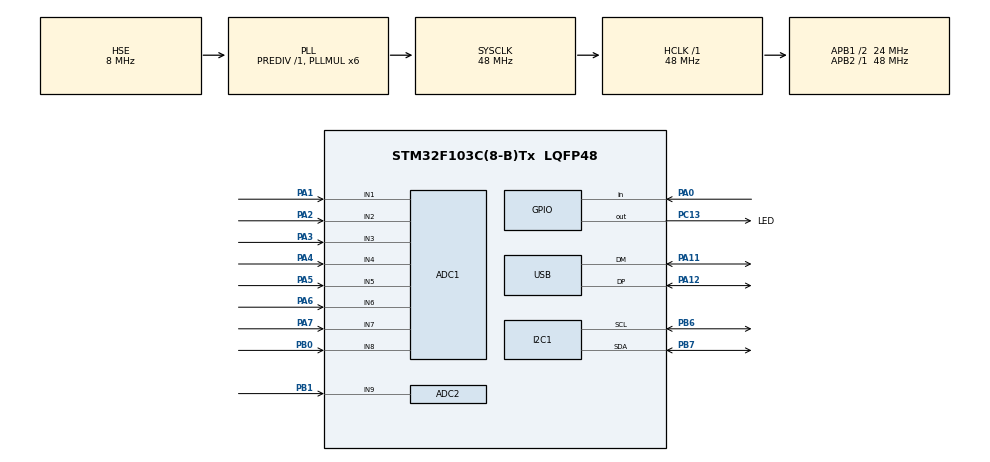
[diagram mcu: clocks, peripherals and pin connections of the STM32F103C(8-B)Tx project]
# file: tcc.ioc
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ADC1.Channel-0\#ChannelRegularConversion=ADC_CHANNEL_1
ADC1.Channel-1\#ChannelRegularConversion=ADC_CHANNEL_2
ADC1.Channel-2\#ChannelRegularConversion=ADC_CHANNEL_3
ADC1.Channel-3\#ChannelRegularConversion=ADC_CHANNEL_4
ADC1.Channel-4\#ChannelRegularConversion=ADC_CHANNEL_5
ADC1.Channel-5\#ChannelRegularConversion=ADC_CHANNEL_6
ADC1.Channel-6\#ChannelRegularConversion=ADC_CHANNEL_7
ADC1.Channel-7\#ChannelRegularConversion=ADC_CHANNEL_8
ADC1.ContinuousConvMode=ENABLE
ADC1.EnableAnalogWatchDog=false
ADC1.NbrOfConversion=8
ADC1.NbrOfConversionFlag=1
ADC1.Rank-0\#ChannelRegularConversion=1
ADC1.Rank-1\#ChannelRegularConversion=2
ADC1.Rank-2\#ChannelRegularConversion=3
ADC1.Rank-3\#ChannelRegularConversion=4
ADC1.Rank-4\#ChannelRegularConversion=5
ADC1.Rank-5\#ChannelRegularConversion=6
ADC1.Rank-6\#ChannelRegularConversion=7
ADC1.Rank-7\#ChannelRegularConversion=8
ADC1.SamplingTime-0\#ChannelRegularConversion=ADC_SAMPLETIME_71CYCLES_5
ADC1.SamplingTime-1\#ChannelRegularConversion=ADC_SAMPLETIME_71CYCLES_5
ADC1.SamplingTime-2\#ChannelRegularConversion=ADC_SAMPLETIME_71CYCLES_5
ADC1.SamplingTime-3\#ChannelRegularConversion=ADC_SAMPLETIME_71CYCLES_5
ADC1.SamplingTime-4\#ChannelRegularConversion=ADC_SAMPLETIME_71CYCLES_5
ADC1.SamplingTime-5\#ChannelRegularConversion=ADC_SAMPLETIME_71CYCLES_5
ADC1.SamplingTime-6\#ChannelRegularConversion=ADC_SAMPLETIME_71CYCLES_5
ADC1.SamplingTime-7\#ChannelRegularConversion=ADC_SAMPLETIME_71CYCLES_5
ADC1.master=1
ADC2.Channel-2\#ChannelRegularConversion=ADC_CHANNEL_9
ADC2.ExternalTrigConv=ADC_EXTERNALTRIGCONV_T3_TRGO
ADC2.NbrOfConversionFlag=1
ADC2.Rank-2\#ChannelRegularConversion=1
ADC2.SamplingTime-2\#ChannelRegularConversion=ADC_SAMPLETIME_71CYCLES_5
Dma.ADC1.0.Direction=DMA_PERIPH_TO_MEMORY
Dma.ADC1.0.Instance=DMA1_Channel1
Dma.ADC1.0.MemDataAlignment=DMA_MDATAALIGN_HALFWORD
Dma.ADC1.0.MemInc=DMA_MINC_ENABLE
Dma.ADC1.0.Mode=DMA_CIRCULAR
Dma.ADC1.0.PeriphDataAlignment=DMA_PDATAALIGN_HALFWORD
Dma.ADC1.0.PeriphInc=DMA_PINC_DISABLE
Dma.ADC1.0.Priority=DMA_PRIORITY_HIGH
Dma.Request0=ADC1
Mcu.Family=STM32F1
Mcu.Name=STM32F103C(8-B)Tx
Mcu.Package=LQFP48
NVIC.ADC1_2_IRQn=true\:0\:0\:false\:false\:true\:true\:true\:true
NVIC.DMA1_Channel1_IRQn=true\:0\:0\:false\:false\:true\:false\:true\:true
NVIC.PriorityGroup=NVIC_PRIORITYGROUP_4
NVIC.TIM3_IRQn=true\:0\:0\:false\:false\:true\:true\:true\:true
NVIC.USB_LP_CAN1_RX0_IRQn=true\:0\:0\:false\:false\:true\:false\:true\:true
PA0-WKUP.Signal=GPIO_Input
PA1.Signal=ADCx_IN1
PA11.Mode=Device
PA11.Signal=USB_DM
PA12.Mode=Device
PA12.Signal=USB_DP
PA13.Mode=JTAG_5_pins
PA13.Signal=SYS_JTMS-SWDIO
PA14.Mode=JTAG_5_pins
PA14.Signal=SYS_JTCK-SWCLK
PA15.Mode=JTAG_5_pins
PA15.Signal=SYS_JTDI
PA2.Signal=ADCx_IN2
PA3.Signal=ADCx_IN3
PA4.Signal=ADCx_IN4
PA5.Signal=ADCx_IN5
PA6.Signal=ADCx_IN6
PA7.Signal=ADCx_IN7
PB0.Signal=ADCx_IN8
PB1.Signal=ADCx_IN9
PB3.Mode=JTAG_5_pins
PB3.Signal=SYS_JTDO-TRACESWO
PB4.Mode=JTAG_5_pins
PB4.Signal=SYS_NJTRST
PB6.Mode=I2C
PB6.Signal=I2C1_SCL
PB7.Mode=I2C
PB7.Signal=I2C1_SDA
PC13-TAMPER-RTC.GPIO_Label=LED
PC13-TAMPER-RTC.PinState=GPIO_PIN_SET
PC13-TAMPER-RTC.Signal=GPIO_Output
PD0-OSC_IN.Mode=HSE-External-Oscillator
PD0-OSC_IN.Signal=RCC_OSC_IN
PD1-OSC_OUT.Mode=HSE-External-Oscillator
PD1-OSC_OUT.Signal=RCC_OSC_OUT
ProjectManager.HeapSize=0x200
ProjectManager.StackSize=0x400
ProjectManager.TargetToolchain=STM32CubeIDE
RCC.ADCPresc=RCC_ADCPCLK2_DIV4
RCC.AHBFreq_Value=48000000
RCC.APB1CLKDivider=RCC_HCLK_DIV2
RCC.APB1Freq_Value=24000000
RCC.APB1TimFreq_Value=48000000
RCC.APB2Freq_Value=48000000
RCC.APB2TimFreq_Value=48000000
RCC.HCLKFreq_Value=48000000
RCC.PLLMUL=RCC_PLL_MUL6
RCC.SYSCLKFreq_VALUE=48000000
RCC.SYSCLKSource=RCC_SYSCLKSOURCE_PLLCLK
RCC.USBFreq_Value=48000000
SH.ADCx_IN1.0=ADC1_IN1,IN1
SH.ADCx_IN2.0=ADC1_IN2,IN2
SH.ADCx_IN3.0=ADC1_IN3,IN3
SH.ADCx_IN4.0=ADC1_IN4,IN4
SH.ADCx_IN5.0=ADC1_IN5,IN5
SH.ADCx_IN6.0=ADC1_IN6,IN6
SH.ADCx_IN7.0=ADC1_IN7,IN7
SH.ADCx_IN8.0=ADC1_IN8,IN8
SH.ADCx_IN9.0=ADC2_IN9,IN9
TIM3.Period=10
TIM3.Prescaler=4800-1
TIM3.TIM_MasterOutputTrigger=TIM_TRGO_UPDATE
USB_DEVICE.CLASS_NAME_FS=CDC
USB_DEVICE.VirtualMode=Cdc
USB_DEVICE.VirtualModeFS=Cdc_FS
VP_TIM3_VS_ClockSourceINT.Mode=Internal
VP_USB_DEVICE_VS_USB_DEVICE_CDC_FS.Mode=CDC_FS
board=custom

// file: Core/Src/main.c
/* USER CODE BEGIN Header */
/**
  ******************************************************************************
  * @file           : main.c
  * @brief          : Main program body
  ******************************************************************************
  * @attention
  *
  * Copyright (c) 2024 STMicroelectronics.
  * All rights reserved.
  *
  * This software is licensed under terms that can be found in the LICENSE file
  * in the root directory of this software component.
  * If no LICENSE file comes with this software, it is provided AS-IS.
  *
  ******************************************************************************
  */
/* USER CODE END Header */
#include "main.h"
#include "usb_device.h"

/* USER CODE BEGIN Includes */
#include "usbd_cdc_if.h"
#include "string.h"
#include <stdio.h>
/* USER CODE END Includes */

/* USER CODE BEGIN PD */
#define START_MARKER '<'			// Marcador de inicio de matriz
#define END_MARKER '>'				// Marcador de fim de matriz
#define MODE_MATRIX 0				// Definir 0 como modo de operação para configuração de matrizes
#define MODE_FREQUENCY 1			// Definir 1 como modo de operação para ajuste de frequência
#define START_FREQ_CMD 0xF0    		// Comando para iniciar modo de frequência
#define STOP_FREQ_CMD 0xF1     		// Comando para parar modo de frequência
#define ADC_BUFFER_SIZE 8  			// Buffer para 8 canais do ADC
#define FREQ_BUFFER_SIZE 10			// Buffer frequência para cálculo da média móvel
#define FREQ_MULTIPLIER 100  		// Para manter 2 casas decimais
#define PCF8574_BASE_ADDRESS 0x40  	// Endereço base do PCF8574 (A2, A1, A0 = 000)
#define HYSTERESIS_HIGH 1850  // ~55% de 4095
#define HYSTERESIS_LOW 1750   // ~45% de 4095
#define MOVING_AVG_SIZE 10
/* USER CODE END PD */

ADC_HandleTypeDef hadc1;
ADC_HandleTypeDef hadc2;
DMA_HandleTypeDef hdma_adc1;

I2C_HandleTypeDef hi2c1;

TIM_HandleTypeDef htim3;

/* USER CODE BEGIN PV */
// Variávies do acoplamento de rede
volatile uint8_t dataComplete = 0;				// Indica que matriz terminou de ser recebida
volatile uint8_t receivingMatrix = 0;			// Indica que matriz está sendo recebida
volatile uint8_t config_complete = 0;			// Indica que configuração de matriz foi completa
float matrix[ADC_BUFFER_SIZE][ADC_BUFFER_SIZE];	// Matriz de adjascencia da rede
uint8_t matrixSize = 0;							// Tamanho da matriz

// Variáveis da medição de frequência
volatile uint8_t operating_mode = MODE_MATRIX;	// Define tipo de operação, inicializa como definição de matriz
uint32_t last_rising_edge = 0;					// Tempo da última borda de descida
uint32_t periods[MOVING_AVG_SIZE];				// Vetor de períodos de oscilação
uint8_t period_index = 0;						// Índice do último período
/* USER CODE END PV */

void SystemClock_Config(void);
static void MX_GPIO_Init(void);
static void MX_DMA_Init(void);
static void MX_ADC1_Init(void);
static void MX_I2C1_Init(void);
static void MX_ADC2_Init(void);
static void MX_TIM3_Init(void);

/* USER CODE BEGIN 0 */

// Função para resetar todos os PCF8574
void Reset_All_PCF8574(void)
{
    uint8_t resetValue = 0x00;  // Desligar todos os LEDs
    for (uint8_t i = 0; i < ADC_BUFFER_SIZE; i++)
    {
        HAL_StatusTypeDef status = HAL_I2C_Master_Transmit(&hi2c1, PCF8574_BASE_ADDRESS + i, &resetValue, 1, HAL_MAX_DELAY);
        if (status != HAL_OK)
        {
            // Opcional: Adicione um log ou tratamento de erro
            HAL_GPIO_TogglePin(LED_GPIO_Port, LED_Pin);
            HAL_Delay(10);
            HAL_GPIO_TogglePin(LED_GPIO_Port, LED_Pin);
        }
    }
}

// Função para resetar matriz de adjascencia antes de receber nova
void Reset_Matrix(void) {
    for(uint8_t i = 0; i < ADC_BUFFER_SIZE; i++) {
        for(uint8_t j = 0; j < ADC_BUFFER_SIZE; j++) {
            matrix[i][j] = 0;
        }
    }
}

// DEBUG -> Função para imprimir matriz na serial
void Print_Matrix_USB(void) {
    char line_buffer[128]; // Buffer para armazenar uma linha da matriz
    CDC_Transmit_FS((uint8_t *)"\n", 1); // Linha vazia para separação
    for (uint8_t i = 0; i < matrixSize; i++) {
        int pos = 0; // Posicionamento no buffer
        for (uint8_t j = 0; j < matrixSize; j++) {
            pos += sprintf(&line_buffer[pos], "%d ", (int)matrix[i][j]); // Concatena valores na linha
        }
        line_buffer[pos++] = '\n'; // Adiciona quebra de linha
        line_buffer[pos] = '\0';   // Finaliza a string
        CDC_Transmit_FS((uint8_t *)line_buffer, strlen(line_buffer)); // Envia a linha via USB
        HAL_Delay(50); // Pequeno delay para evitar sobrecarga de dados no Hercules
    }
    CDC_Transmit_FS((uint8_t *)"\n", 1); // Linha vazia para separação
}

// Verifica se I2C está pronto
HAL_StatusTypeDef I2C_IsDeviceReady(uint8_t i)
{
    return HAL_I2C_IsDeviceReady(&hi2c1, PCF8574_BASE_ADDRESS + i, 3, HAL_MAX_DELAY);
}

// Função para processar um byte recebido
void Process_Byte(uint8_t byte)
{
    static uint8_t row = 0;
    static uint8_t col = 0;

    // Verificar comandos de modo primeiro
    if (byte == START_FREQ_CMD) {
        operating_mode = MODE_FREQUENCY;
        // Iniciar timer e ADC2 para medição de frequência
        HAL_TIM_Base_Start(&htim3);
        HAL_ADC_Start_IT(&hadc2);
        // Enviar confirmação
        uint8_t msg[] = "Starting frequency measurement mode\r\n";
        CDC_Transmit_FS(msg, strlen((char*)msg));
        return;
    }
    else if (byte == STOP_FREQ_CMD) {
        operating_mode = MODE_MATRIX;
        // Parar timer e ADC2
        HAL_TIM_Base_Stop(&htim3);
        HAL_ADC_Stop_IT(&hadc2);
        // Enviar confirmação
        uint8_t msg[] = "Stopping frequency measurement mode\r\n";
        CDC_Transmit_FS(msg, strlen((char*)msg));
        return;
    }

    // Processamento normal da matriz se estiver no modo matriz
    if (operating_mode == MODE_MATRIX) {
        if (byte == START_MARKER) {
            Reset_Matrix();
            row = 0;
            col = 0;
            receivingMatrix = 1;
            return;
        }

        if (byte == END_MARKER) {
            receivingMatrix = 0;
            dataComplete = 1;
            matrixSize = row + 1;
            return;
        }

        if (receivingMatrix) {
            if (byte == '1') {
                matrix[row][col] = 1;
            } else if (byte == '0') {
                matrix[row][col] = 0;
            } else if (byte == ',') {
                col++;
            } else if (byte == ';') {
                row++;
                col = 0;
            }
        }
    }
}

// Função para atualizar as saídas I2C baseada na matriz
void Update_I2C_Outputs(void) {
    Print_Matrix_USB(); // Chama a função para imprimir a matriz na serial
    for (uint8_t i = 0; i < matrixSize; i++) {
        uint8_t outputByte = 0;

        // Converte cada linha da matriz em um byte para o PCF8574
        for (uint8_t j = 0; j < matrixSize; j++) {
            if (matrix[i][j]) {
                outputByte |= (1 << j);
            }
        }

        // Envia o byte para o PCF8574 correspondente
        HAL_I2C_Master_Transmit(&hi2c1, PCF8574_BASE_ADDRESS + i, &outputByte, 1, HAL_MAX_DELAY);
    }

    // uint8_t outputBytes[2] = {0, 0}; // Dois módulos PCF8574

    // // Mapeamento manual para a nova configuração 3x3
    // outputBytes[0] |= (matrix[0][0] << 0); // P0  -> matriz[0][0]
    // outputBytes[0] |= (matrix[0][1] << 1); // P1  -> matriz[0][1]
    // outputBytes[0] |= (matrix[0][2] << 2); // P2  -> matriz[0][2]
    // outputBytes[0] |= (matrix[1][0] << 3); // P3  -> matriz[1][0]
    // outputBytes[0] |= (matrix[1][1] << 4); // P4  -> matriz[1][1]
    // outputBytes[0] |= (matrix[1][2] << 5); // P5  -> matriz[1][2]
    // outputBytes[0] |= (matrix[2][0] << 6); // P6  -> matriz[2][0]
    // outputBytes[0] |= (matrix[2][1] << 7); // P7  -> matriz[2][1]

    // outputBytes[1] |= (matrix[2][2] << 0); // P0 (segundo módulo) -> matriz[2][2]

    // // Envia os bytes para os dois módulos PCF8574
    // HAL_I2C_Master_Transmit(&hi2c1, PCF8574_BASE_ADDRESS + 0, &outputBytes[0], 1, HAL_MAX_DELAY);
    // HAL_I2C_Master_Transmit(&hi2c1, PCF8574_BASE_ADDRESS + 1, &outputBytes[1], 1, HAL_MAX_DELAY);

    // Piscar LED para indicação
    HAL_GPIO_TogglePin(LED_GPIO_Port, LED_Pin);
    HAL_Delay(50);
    HAL_GPIO_TogglePin(LED_GPIO_Port, LED_Pin);
    HAL_Delay(100);
    HAL_GPIO_TogglePin(LED_GPIO_Port, LED_Pin);
    HAL_Delay(100);
    HAL_GPIO_TogglePin(LED_GPIO_Port, LED_Pin);

    // Envia confirmação pela USB
    uint8_t ack[] = "ACK\n";
    CDC_Transmit_FS(ack, 5);
}

// Detecção de borda com histerese
uint8_t Detect_Rising_Edge(uint16_t current_value, uint16_t *last_value) {
    static uint8_t state = 0;  // 0: baixo, 1: alto

    if (state == 0 && current_value > HYSTERESIS_HIGH) {
        state = 1;
        *last_value = current_value;
        return 1;
    }
    else if (state == 1 && current_value < HYSTERESIS_LOW) {
        state = 0;
    }

    *last_value = current_value;
    return 0;
}

// Cálculo de frequência com média móvel
float Calculate_Frequency(uint32_t new_period) {
    periods[period_index] = new_period;
    period_index = (period_index + 1) % MOVING_AVG_SIZE;

    uint32_t avg_period = 0;
    for(uint8_t i = 0; i < MOVING_AVG_SIZE; i++) {
        avg_period += periods[i];
    }
    avg_period /= MOVING_AVG_SIZE;

    // Converte período em ms para frequência em Hz
    if(avg_period > 0) {
        return 1000.0f / avg_period;
    }
    return 0.0f;
}

void HAL_ADC_ConvCpltCallback(ADC_HandleTypeDef* hadc)
{
//    if (hadc->Instance == ADC1)
//    {
//        adc_conversion_complete = 1;
//    }
    if(hadc->Instance == ADC2 && operating_mode == MODE_FREQUENCY) {
        static uint16_t last_value = 0;
        uint16_t current_value = HAL_ADC_GetValue(hadc);

        // Detecta borda de subida com histerese
        if(Detect_Rising_Edge(current_value, &last_value)) {
            uint32_t current_time = HAL_GetTick();

            if(last_rising_edge > 0) {
                uint32_t period = current_time - last_rising_edge;
                float freq = Calculate_Frequency(period);

                char freq_str[50];
                int32_t int_part = (int32_t)freq;
                int32_t dec_part = (int32_t)((freq - int_part) * 100);
                sprintf(freq_str, "#FRQ:%ld.%02ld$\r\n", int_part, dec_part);
                CDC_Transmit_FS((uint8_t*)freq_str, strlen(freq_str));
            }
            last_rising_edge = current_time;
        }

        HAL_ADC_Start_IT(hadc);
    }
}
/* USER CODE END 0 */

int main(void)
{

  /* MCU Configuration--------------------------------------------------------*/

  /* Reset of all peripherals, Initializes the Flash interface and the Systick. */
  HAL_Init();

  /* Configure the system clock */
  SystemClock_Config();

  /* Initialize all configured peripherals */
  MX_GPIO_Init();
  MX_DMA_Init();
  MX_USB_DEVICE_Init();
  MX_ADC1_Init();
  MX_I2C1_Init();
  MX_ADC2_Init();
  MX_TIM3_Init();
  /* USER CODE BEGIN 2 */

  // Pequeno delay para estabilização do I2C
  HAL_Delay(100);

  HAL_ADC_Start(&hadc2);

  // Verifica se o PCF8574 está respondendo
//  if (I2C_IsDeviceReady(0) != HAL_OK)
//  {
//      // Dispositivo não encontrado - piscar LED de erro
//      while(I2C_IsDeviceReady(0) != HAL_OK)
//      {
//          HAL_GPIO_TogglePin(LED_GPIO_Port, LED_Pin);
//          HAL_Delay(100);
//      }
//  }

  // Reseta todos os PCF8574 para desligar LEDs
  Reset_All_PCF8574();

  // Inicialização do ADC
  // HAL_ADC_Start_DMA(&hadc1, (uint32_t*)adc_buffer, ADC_BUFFER_SIZE);

  /* USER CODE END 2 */

  /* Infinite loop */
  while (1)
  {

    /* USER CODE BEGIN 3 */
      if (operating_mode == MODE_MATRIX) {
          if (dataComplete) {
              Update_I2C_Outputs();
              dataComplete = 0;
              config_complete = 1;
          }
      }

	}
  /* USER CODE END 3 */
}

void SystemClock_Config(void)
{
  RCC_OscInitTypeDef RCC_OscInitStruct = {0};
  RCC_ClkInitTypeDef RCC_ClkInitStruct = {0};
  RCC_PeriphCLKInitTypeDef PeriphClkInit = {0};

  /** Initializes the RCC Oscillators according to the specified parameters
  * in the RCC_OscInitTypeDef structure.
  */
  RCC_OscInitStruct.OscillatorType = RCC_OSCILLATORTYPE_HSE;
  RCC_OscInitStruct.HSEState = RCC_HSE_ON;
  RCC_OscInitStruct.HSEPredivValue = RCC_HSE_PREDIV_DIV1;
  RCC_OscInitStruct.HSIState = RCC_HSI_ON;
  RCC_OscInitStruct.PLL.PLLState = RCC_PLL_ON;
  RCC_OscInitStruct.PLL.PLLSource = RCC_PLLSOURCE_HSE;
  RCC_OscInitStruct.PLL.PLLMUL = RCC_PLL_MUL6;
  if (HAL_RCC_OscConfig(&RCC_OscInitStruct) != HAL_OK)
  {
    Error_Handler();
  }

  /** Initializes the CPU, AHB and APB buses clocks
  */
  RCC_ClkInitStruct.ClockType = RCC_CLOCKTYPE_HCLK|RCC_CLOCKTYPE_SYSCLK
                              |RCC_CLOCKTYPE_PCLK1|RCC_CLOCKTYPE_PCLK2;
  RCC_ClkInitStruct.SYSCLKSource = RCC_SYSCLKSOURCE_PLLCLK;
  RCC_ClkInitStruct.AHBCLKDivider = RCC_SYSCLK_DIV1;
  RCC_ClkInitStruct.APB1CLKDivider = RCC_HCLK_DIV2;
  RCC_ClkInitStruct.APB2CLKDivider = RCC_HCLK_DIV1;

  if (HAL_RCC_ClockConfig(&RCC_ClkInitStruct, FLASH_LATENCY_1) != HAL_OK)
  {
    Error_Handler();
  }
  PeriphClkInit.PeriphClockSelection = RCC_PERIPHCLK_ADC|RCC_PERIPHCLK_USB;
  PeriphClkInit.AdcClockSelection = RCC_ADCPCLK2_DIV4;
  PeriphClkInit.UsbClockSelection = RCC_USBCLKSOURCE_PLL;
  if (HAL_RCCEx_PeriphCLKConfig(&PeriphClkInit) != HAL_OK)
  {
    Error_Handler();
  }
}

static void MX_ADC1_Init(void)
{

  ADC_ChannelConfTypeDef sConfig = {0};

  /** Common config
  */
  hadc1.Instance = ADC1;
  hadc1.Init.ScanConvMode = ADC_SCAN_ENABLE;
  hadc1.Init.ContinuousConvMode = ENABLE;
  hadc1.Init.DiscontinuousConvMode = DISABLE;
  hadc1.Init.ExternalTrigConv = ADC_SOFTWARE_START;
  hadc1.Init.DataAlign = ADC_DATAALIGN_RIGHT;
  hadc1.Init.NbrOfConversion = 8;
  if (HAL_ADC_Init(&hadc1) != HAL_OK)
  {
    Error_Handler();
  }

  /** Configure Regular Channel
  */
  sConfig.Channel = ADC_CHANNEL_1;
  sConfig.Rank = ADC_REGULAR_RANK_1;
  sConfig.SamplingTime = ADC_SAMPLETIME_71CYCLES_5;
  if (HAL_ADC_ConfigChannel(&hadc1, &sConfig) != HAL_OK)
  {
    Error_Handler();
  }

  /** Configure Regular Channel
  */
  sConfig.Channel = ADC_CHANNEL_2;
  sConfig.Rank = ADC_REGULAR_RANK_2;
  if (HAL_ADC_ConfigChannel(&hadc1, &sConfig) != HAL_OK)
  {
    Error_Handler();
  }

  /** Configure Regular Channel
  */
  sConfig.Channel = ADC_CHANNEL_3;
  sConfig.Rank = ADC_REGULAR_RANK_3;
  if (HAL_ADC_ConfigChannel(&hadc1, &sConfig) != HAL_OK)
  {
    Error_Handler();
  }

  /** Configure Regular Channel
  */
  sConfig.Channel = ADC_CHANNEL_4;
  sConfig.Rank = ADC_REGULAR_RANK_4;
  if (HAL_ADC_ConfigChannel(&hadc1, &sConfig) != HAL_OK)
  {
    Error_Handler();
  }

  /** Configure Regular Channel
  */
  sConfig.Channel = ADC_CHANNEL_5;
  sConfig.Rank = ADC_REGULAR_RANK_5;
  if (HAL_ADC_ConfigChannel(&hadc1, &sConfig) != HAL_OK)
  {
    Error_Handler();
  }

  /** Configure Regular Channel
  */
  sConfig.Channel = ADC_CHANNEL_6;
  sConfig.Rank = ADC_REGULAR_RANK_6;
  if (HAL_ADC_ConfigChannel(&hadc1, &sConfig) != HAL_OK)
  {
    Error_Handler();
  }

  /** Configure Regular Channel
  */
  sConfig.Channel = ADC_CHANNEL_7;
  sConfig.Rank = ADC_REGULAR_RANK_7;
  if (HAL_ADC_ConfigChannel(&hadc1, &sConfig) != HAL_OK)
  {
    Error_Handler();
  }

  /** Configure Regular Channel
  */
  sConfig.Channel = ADC_CHANNEL_8;
  sConfig.Rank = ADC_REGULAR_RANK_8;
  if (HAL_ADC_ConfigChannel(&hadc1, &sConfig) != HAL_OK)
  {
    Error_Handler();
  }

}

static void MX_ADC2_Init(void)
{

  ADC_ChannelConfTypeDef sConfig = {0};

  /** Common config
  */
  hadc2.Instance = ADC2;
  hadc2.Init.ScanConvMode = ADC_SCAN_DISABLE;
  hadc2.Init.ContinuousConvMode = DISABLE;
  hadc2.Init.DiscontinuousConvMode = DISABLE;
  hadc2.Init.ExternalTrigConv = ADC_EXTERNALTRIGCONV_T3_TRGO;
  hadc2.Init.DataAlign = ADC_DATAALIGN_RIGHT;
  hadc2.Init.NbrOfConversion = 1;
  if (HAL_ADC_Init(&hadc2) != HAL_OK)
  {
    Error_Handler();
  }

  /** Configure Regular Channel
  */
  sConfig.Channel = ADC_CHANNEL_9;
  sConfig.Rank = ADC_REGULAR_RANK_1;
  sConfig.SamplingTime = ADC_SAMPLETIME_71CYCLES_5;
  if (HAL_ADC_ConfigChannel(&hadc2, &sConfig) != HAL_OK)
  {
    Error_Handler();
  }

}

static void MX_I2C1_Init(void)
{

  hi2c1.Instance = I2C1;
  hi2c1.Init.ClockSpeed = 100000;
  hi2c1.Init.DutyCycle = I2C_DUTYCYCLE_2;
  hi2c1.Init.OwnAddress1 = 0;
  hi2c1.Init.AddressingMode = I2C_ADDRESSINGMODE_7BIT;
  hi2c1.Init.DualAddressMode = I2C_DUALADDRESS_DISABLE;
  hi2c1.Init.OwnAddress2 = 0;
  hi2c1.Init.GeneralCallMode = I2C_GENERALCALL_DISABLE;
  hi2c1.Init.NoStretchMode = I2C_NOSTRETCH_DISABLE;
  if (HAL_I2C_Init(&hi2c1) != HAL_OK)
  {
    Error_Handler();
  }

}

static void MX_TIM3_Init(void)
{

  TIM_ClockConfigTypeDef sClockSourceConfig = {0};
  TIM_MasterConfigTypeDef sMasterConfig = {0};

  htim3.Instance = TIM3;
  htim3.Init.Prescaler = 4800-1;
  htim3.Init.CounterMode = TIM_COUNTERMODE_UP;
  htim3.Init.Period = 10-1;
  htim3.Init.ClockDivision = TIM_CLOCKDIVISION_DIV1;
  htim3.Init.AutoReloadPreload = TIM_AUTORELOAD_PRELOAD_DISABLE;
  if (HAL_TIM_Base_Init(&htim3) != HAL_OK)
  {
    Error_Handler();
  }
  sClockSourceConfig.ClockSource = TIM_CLOCKSOURCE_INTERNAL;
  if (HAL_TIM_ConfigClockSource(&htim3, &sClockSourceConfig) != HAL_OK)
  {
    Error_Handler();
  }
  sMasterConfig.MasterOutputTrigger = TIM_TRGO_UPDATE;
  sMasterConfig.MasterSlaveMode = TIM_MASTERSLAVEMODE_DISABLE;
  if (HAL_TIMEx_MasterConfigSynchronization(&htim3, &sMasterConfig) != HAL_OK)
  {
    Error_Handler();
  }

}

static void MX_DMA_Init(void)
{

  /* DMA controller clock enable */
  __HAL_RCC_DMA1_CLK_ENABLE();

  /* DMA interrupt init */
  /* DMA1_Channel1_IRQn interrupt configuration */
  HAL_NVIC_SetPriority(DMA1_Channel1_IRQn, 0, 0);
  HAL_NVIC_EnableIRQ(DMA1_Channel1_IRQn);

}

static void MX_GPIO_Init(void)
{
  GPIO_InitTypeDef GPIO_InitStruct = {0};

  /* GPIO Ports Clock Enable */
  __HAL_RCC_GPIOC_CLK_ENABLE();
  __HAL_RCC_GPIOD_CLK_ENABLE();
  __HAL_RCC_GPIOA_CLK_ENABLE();
  __HAL_RCC_GPIOB_CLK_ENABLE();

  /*Configure GPIO pin Output Level */
  HAL_GPIO_WritePin(LED_GPIO_Port, LED_Pin, GPIO_PIN_SET);

  /*Configure GPIO pin : LED_Pin */
  GPIO_InitStruct.Pin = LED_Pin;
  GPIO_InitStruct.Mode = GPIO_MODE_OUTPUT_PP;
  GPIO_InitStruct.Pull = GPIO_NOPULL;
  GPIO_InitStruct.Speed = GPIO_SPEED_FREQ_LOW;
  HAL_GPIO_Init(LED_GPIO_Port, &GPIO_InitStruct);

  /*Configure GPIO pin : PA0 */
  GPIO_InitStruct.Pin = GPIO_PIN_0;
  GPIO_InitStruct.Mode = GPIO_MODE_INPUT;
  GPIO_InitStruct.Pull = GPIO_NOPULL;
  HAL_GPIO_Init(GPIOA, &GPIO_InitStruct);

}

void Error_Handler(void)
{
  __disable_irq();
  while (1)
  {
  }
}
